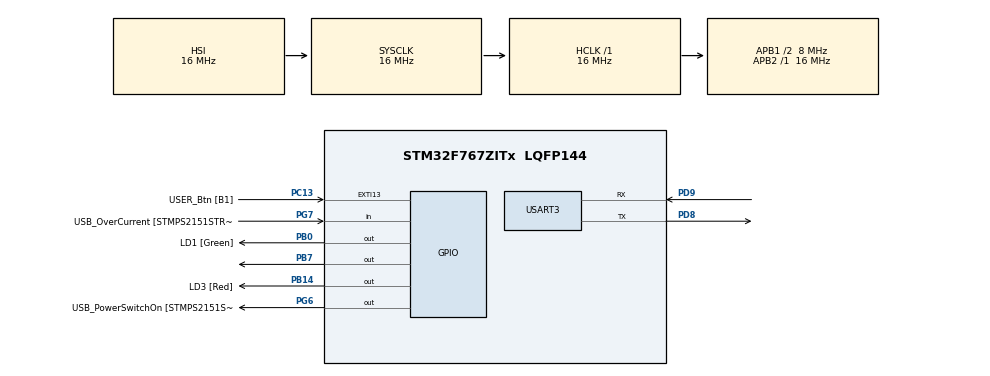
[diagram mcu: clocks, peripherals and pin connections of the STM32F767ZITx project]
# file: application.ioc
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Mcu.Family=STM32F7
Mcu.Name=STM32F767ZITx
Mcu.Package=LQFP144
NVIC.PriorityGroup=NVIC_PRIORITYGROUP_4
PA1.GPIO_Label=RMII_REF_CLK [LAN8742A-CZ-TR_REFCLK0]
PA1.Signal=ETH_REF_CLK
PA10.GPIO_Label=USB_ID
PA10.Signal=USB_OTG_FS_ID
PA11.GPIO_Label=USB_DM
PA11.Signal=USB_OTG_FS_DM
PA12.GPIO_Label=USB_DP
PA12.Signal=USB_OTG_FS_DP
PA13.GPIO_Label=TMS
PA13.Signal=SYS_JTMS-SWDIO
PA14.GPIO_Label=TCK
PA14.Signal=SYS_JTCK-SWCLK
PA2.GPIO_Label=RMII_MDIO [LAN8742A-CZ-TR_MDIO]
PA2.Signal=ETH_MDIO
PA7.GPIO_Label=RMII_CRS_DV [LAN8742A-CZ-TR_CRS_DV]
PA7.Signal=ETH_CRS_DV
PA8.GPIO_Label=USB_SOF [TP1]
PA8.Signal=USB_OTG_FS_SOF
PA9.GPIO_Label=USB_VBUS
PA9.Signal=USB_OTG_FS_VBUS
PB0.GPIO_Label=LD1 [Green]
PB0.Signal=GPIO_Output
PB13.GPIO_Label=RMII_TXD1 [LAN8742A-CZ-TR_TXD1]
PB13.Signal=ETH_TXD1
PB14.GPIO_Label=LD3 [Red]
PB14.Signal=GPIO_Output
PB3.GPIO_Label=SW0
PB3.Signal=SYS_JTDO-SWO
PB7.Signal=GPIO_Output
PC1.GPIO_Label=RMII_MDC [LAN8742A-CZ-TR_MDC]
PC1.Signal=ETH_MDC
PC13.GPIO_Label=USER_Btn [B1]
PC13.Signal=GPXTI13
PC14/OSC32_IN.Signal=RCC_OSC32_IN
PC15/OSC32_OUT.Signal=RCC_OSC32_OUT
PC4.GPIO_Label=RMII_RXD0 [LAN8742A-CZ-TR_RXD0]
PC4.Signal=ETH_RXD0
PC5.GPIO_Label=RMII_RXD1 [LAN8742A-CZ-TR_RXD1]
PC5.Signal=ETH_RXD1
PD8.Mode=Asynchronous
PD8.Signal=USART3_TX
PD9.Mode=Asynchronous
PD9.Signal=USART3_RX
PG11.GPIO_Label=RMII_TX_EN [LAN8742A-CZ-TR_TXEN]
PG11.Signal=ETH_TX_EN
PG13.GPIO_Label=RMII_TXD0 [LAN8742A-CZ-TR_TXD0]
PG13.Signal=ETH_TXD0
PG6.GPIO_Label=USB_PowerSwitchOn [STMPS2151STR_EN]
PG6.Signal=GPIO_Output
PG7.GPIO_Label=USB_OverCurrent [STMPS2151STR_FAULT]
PG7.Signal=GPIO_Input
PH0/OSC_IN.GPIO_Label=MCO [STM32F103CBT6_PA8]
PH0/OSC_IN.Signal=RCC_OSC_IN
PH1/OSC_OUT.Signal=RCC_OSC_OUT
ProjectManager.HeapSize=0x200
ProjectManager.StackSize=0x400
ProjectManager.TargetToolchain=STM32CubeIDE
RCC.48MHZClocksFreq_Value=24000000
RCC.AHBFreq_Value=16000000
RCC.APB1CLKDivider=RCC_HCLK_DIV2
RCC.APB1Freq_Value=8000000
RCC.APB1TimFreq_Value=16000000
RCC.APB2Freq_Value=16000000
RCC.APB2TimFreq_Value=16000000
RCC.CortexFreq_Value=16000000
RCC.HCLKFreq_Value=16000000
RCC.HSE_VALUE=16000000
RCC.HSI_VALUE=16000000
RCC.LSE_VALUE=32768
RCC.PLLMUL=RCC_PLL_MUL9
RCC.PRESCALERUSB=RCC_USBCLKSOURCE_PLL_DIV1_5
RCC.SYSCLKFreq_VALUE=16000000
RCC.SYSCLKSourceVirtual=RCC_SYSCLKSOURCE_PLLCLK
RCC.USBFreq_Value=96000000
RCC.VCOOutputFreq_Value=192000000
USART3.VirtualMode-Asynchronous=VM_ASYNC
board=NUCLEO-F767ZI

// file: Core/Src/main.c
/* USER CODE BEGIN Header */
/**
  ******************************************************************************
  * @file           : main.c
  * @brief          : Main program body
  ******************************************************************************
  * @attention
  *
  * Copyright (c) 2024 STMicroelectronics.
  * All rights reserved.
  *
  * This software is licensed under terms that can be found in the LICENSE file
  * in the root directory of this software component.
  * If no LICENSE file comes with this software, it is provided AS-IS.
  *
  ******************************************************************************
  */
/* USER CODE END Header */
#include "main.h"

/* USER CODE BEGIN Includes */
#include <stdio.h>
/* USER CODE END Includes */

/* USER CODE BEGIN PM */
#define MAJOR 0
#define Minor 1
/* USER CODE END PM */

UART_HandleTypeDef huart3;

/* USER CODE BEGIN PV */
const uint8_t APP_Version[2] = {MAJOR, Minor};
/* USER CODE END PV */

void SystemClock_Config(void);
static void MX_GPIO_Init(void);
static void MX_USART3_UART_Init(void);

int main(void)
{

  /* MCU Configuration--------------------------------------------------------*/

  /* Reset of all peripherals, Initializes the Flash interface and the Systick. */
  HAL_Init();

  /* Configure the system clock */
  SystemClock_Config();

  /* Initialize all configured peripherals */
  MX_GPIO_Init();
  MX_USART3_UART_Init();
  /* USER CODE BEGIN 2 */
  printf("Starting Application (%d.%d)\n", APP_Version[0], APP_Version[1]);
  /* USER CODE END 2 */

  /* Infinite loop */
  while (1)
  {

    /* USER CODE BEGIN 3 */
	 HAL_GPIO_WritePin(GPIOB, GPIO_PIN_7, GPIO_PIN_SET);
	 HAL_Delay(5000);
	 HAL_GPIO_WritePin(GPIOB, GPIO_PIN_7, GPIO_PIN_RESET);
	 HAL_Delay(5000);
  }
  /* USER CODE END 3 */
}

void SystemClock_Config(void)
{
  RCC_OscInitTypeDef RCC_OscInitStruct = {0};
  RCC_ClkInitTypeDef RCC_ClkInitStruct = {0};

  /** Configure the main internal regulator output voltage
  */
  __HAL_RCC_PWR_CLK_ENABLE();
  __HAL_PWR_VOLTAGESCALING_CONFIG(PWR_REGULATOR_VOLTAGE_SCALE3);

  /** Initializes the RCC Oscillators according to the specified parameters
  * in the RCC_OscInitTypeDef structure.
  */
  RCC_OscInitStruct.OscillatorType = RCC_OSCILLATORTYPE_HSI;
  RCC_OscInitStruct.HSIState = RCC_HSI_ON;
  RCC_OscInitStruct.HSICalibrationValue = RCC_HSICALIBRATION_DEFAULT;
  RCC_OscInitStruct.PLL.PLLState = RCC_PLL_NONE;
  if (HAL_RCC_OscConfig(&RCC_OscInitStruct) != HAL_OK)
  {
    Error_Handler();
  }

  /** Initializes the CPU, AHB and APB buses clocks
  */
  RCC_ClkInitStruct.ClockType = RCC_CLOCKTYPE_HCLK|RCC_CLOCKTYPE_SYSCLK
                              |RCC_CLOCKTYPE_PCLK1|RCC_CLOCKTYPE_PCLK2;
  RCC_ClkInitStruct.SYSCLKSource = RCC_SYSCLKSOURCE_HSI;
  RCC_ClkInitStruct.AHBCLKDivider = RCC_SYSCLK_DIV1;
  RCC_ClkInitStruct.APB1CLKDivider = RCC_HCLK_DIV2;
  RCC_ClkInitStruct.APB2CLKDivider = RCC_HCLK_DIV1;

  if (HAL_RCC_ClockConfig(&RCC_ClkInitStruct, FLASH_LATENCY_0) != HAL_OK)
  {
    Error_Handler();
  }
}

static void MX_USART3_UART_Init(void)
{

  huart3.Instance = USART3;
  huart3.Init.BaudRate = 115200;
  huart3.Init.WordLength = UART_WORDLENGTH_8B;
  huart3.Init.StopBits = UART_STOPBITS_1;
  huart3.Init.Parity = UART_PARITY_NONE;
  huart3.Init.Mode = UART_MODE_TX_RX;
  huart3.Init.HwFlowCtl = UART_HWCONTROL_NONE;
  huart3.Init.OverSampling = UART_OVERSAMPLING_16;
  huart3.Init.OneBitSampling = UART_ONE_BIT_SAMPLE_DISABLE;
  huart3.AdvancedInit.AdvFeatureInit = UART_ADVFEATURE_NO_INIT;
  if (HAL_UART_Init(&huart3) != HAL_OK)
  {
    Error_Handler();
  }

}

static void MX_GPIO_Init(void)
{
  GPIO_InitTypeDef GPIO_InitStruct = {0};

  /* GPIO Ports Clock Enable */
  __HAL_RCC_GPIOC_CLK_ENABLE();
  __HAL_RCC_GPIOH_CLK_ENABLE();
  __HAL_RCC_GPIOA_CLK_ENABLE();
  __HAL_RCC_GPIOB_CLK_ENABLE();
  __HAL_RCC_GPIOD_CLK_ENABLE();
  __HAL_RCC_GPIOG_CLK_ENABLE();

  /*Configure GPIO pin Output Level */
  HAL_GPIO_WritePin(GPIOB, LD1_Pin|LD3_Pin|GPIO_PIN_7, GPIO_PIN_RESET);

  /*Configure GPIO pin Output Level */
  HAL_GPIO_WritePin(USB_PowerSwitchOn_GPIO_Port, USB_PowerSwitchOn_Pin, GPIO_PIN_RESET);

  /*Configure GPIO pin : USER_Btn_Pin */
  GPIO_InitStruct.Pin = USER_Btn_Pin;
  GPIO_InitStruct.Mode = GPIO_MODE_IT_RISING;
  GPIO_InitStruct.Pull = GPIO_NOPULL;
  HAL_GPIO_Init(USER_Btn_GPIO_Port, &GPIO_InitStruct);

  /*Configure GPIO pins : RMII_MDC_Pin RMII_RXD0_Pin RMII_RXD1_Pin */
  GPIO_InitStruct.Pin = RMII_MDC_Pin|RMII_RXD0_Pin|RMII_RXD1_Pin;
  GPIO_InitStruct.Mode = GPIO_MODE_AF_PP;
  GPIO_InitStruct.Pull = GPIO_NOPULL;
  GPIO_InitStruct.Speed = GPIO_SPEED_FREQ_VERY_HIGH;
  GPIO_InitStruct.Alternate = GPIO_AF11_ETH;
  HAL_GPIO_Init(GPIOC, &GPIO_InitStruct);

  /*Configure GPIO pins : RMII_REF_CLK_Pin RMII_MDIO_Pin RMII_CRS_DV_Pin */
  GPIO_InitStruct.Pin = RMII_REF_CLK_Pin|RMII_MDIO_Pin|RMII_CRS_DV_Pin;
  GPIO_InitStruct.Mode = GPIO_MODE_AF_PP;
  GPIO_InitStruct.Pull = GPIO_NOPULL;
  GPIO_InitStruct.Speed = GPIO_SPEED_FREQ_VERY_HIGH;
  GPIO_InitStruct.Alternate = GPIO_AF11_ETH;
  HAL_GPIO_Init(GPIOA, &GPIO_InitStruct);

  /*Configure GPIO pins : LD1_Pin LD3_Pin PB7 */
  GPIO_InitStruct.Pin = LD1_Pin|LD3_Pin|GPIO_PIN_7;
  GPIO_InitStruct.Mode = GPIO_MODE_OUTPUT_PP;
  GPIO_InitStruct.Pull = GPIO_NOPULL;
  GPIO_InitStruct.Speed = GPIO_SPEED_FREQ_LOW;
  HAL_GPIO_Init(GPIOB, &GPIO_InitStruct);

  /*Configure GPIO pin : RMII_TXD1_Pin */
  GPIO_InitStruct.Pin = RMII_TXD1_Pin;
  GPIO_InitStruct.Mode = GPIO_MODE_AF_PP;
  GPIO_InitStruct.Pull = GPIO_NOPULL;
  GPIO_InitStruct.Speed = GPIO_SPEED_FREQ_VERY_HIGH;
  GPIO_InitStruct.Alternate = GPIO_AF11_ETH;
  HAL_GPIO_Init(RMII_TXD1_GPIO_Port, &GPIO_InitStruct);

  /*Configure GPIO pin : USB_PowerSwitchOn_Pin */
  GPIO_InitStruct.Pin = USB_PowerSwitchOn_Pin;
  GPIO_InitStruct.Mode = GPIO_MODE_OUTPUT_PP;
  GPIO_InitStruct.Pull = GPIO_NOPULL;
  GPIO_InitStruct.Speed = GPIO_SPEED_FREQ_LOW;
  HAL_GPIO_Init(USB_PowerSwitchOn_GPIO_Port, &GPIO_InitStruct);

  /*Configure GPIO pin : USB_OverCurrent_Pin */
  GPIO_InitStruct.Pin = USB_OverCurrent_Pin;
  GPIO_InitStruct.Mode = GPIO_MODE_INPUT;
  GPIO_InitStruct.Pull = GPIO_NOPULL;
  HAL_GPIO_Init(USB_OverCurrent_GPIO_Port, &GPIO_InitStruct);

  /*Configure GPIO pins : USB_SOF_Pin USB_ID_Pin USB_DM_Pin USB_DP_Pin */
  GPIO_InitStruct.Pin = USB_SOF_Pin|USB_ID_Pin|USB_DM_Pin|USB_DP_Pin;
  GPIO_InitStruct.Mode = GPIO_MODE_AF_PP;
  GPIO_InitStruct.Pull = GPIO_NOPULL;
  GPIO_InitStruct.Speed = GPIO_SPEED_FREQ_VERY_HIGH;
  GPIO_InitStruct.Alternate = GPIO_AF10_OTG_FS;
  HAL_GPIO_Init(GPIOA, &GPIO_InitStruct);

  /*Configure GPIO pin : USB_VBUS_Pin */
  GPIO_InitStruct.Pin = USB_VBUS_Pin;
  GPIO_InitStruct.Mode = GPIO_MODE_INPUT;
  GPIO_InitStruct.Pull = GPIO_NOPULL;
  HAL_GPIO_Init(USB_VBUS_GPIO_Port, &GPIO_InitStruct);

  /*Configure GPIO pins : RMII_TX_EN_Pin RMII_TXD0_Pin */
  GPIO_InitStruct.Pin = RMII_TX_EN_Pin|RMII_TXD0_Pin;
  GPIO_InitStruct.Mode = GPIO_MODE_AF_PP;
  GPIO_InitStruct.Pull = GPIO_NOPULL;
  GPIO_InitStruct.Speed = GPIO_SPEED_FREQ_VERY_HIGH;
  GPIO_InitStruct.Alternate = GPIO_AF11_ETH;
  HAL_GPIO_Init(GPIOG, &GPIO_InitStruct);

}

/* USER CODE BEGIN 4 */
#ifndef _GNUC__
int __io_putchar(int ch)
#else
int fputc(int ch, File *f)
#endif
{
	HAL_UART_Transmit(&huart3,(uint8_t * )&ch, 1, HAL_MAX_DELAY);

	return ch;
}
/* USER CODE END 4 */

void Error_Handler(void)
{
  __disable_irq();
  while (1)
  {
  }
}
